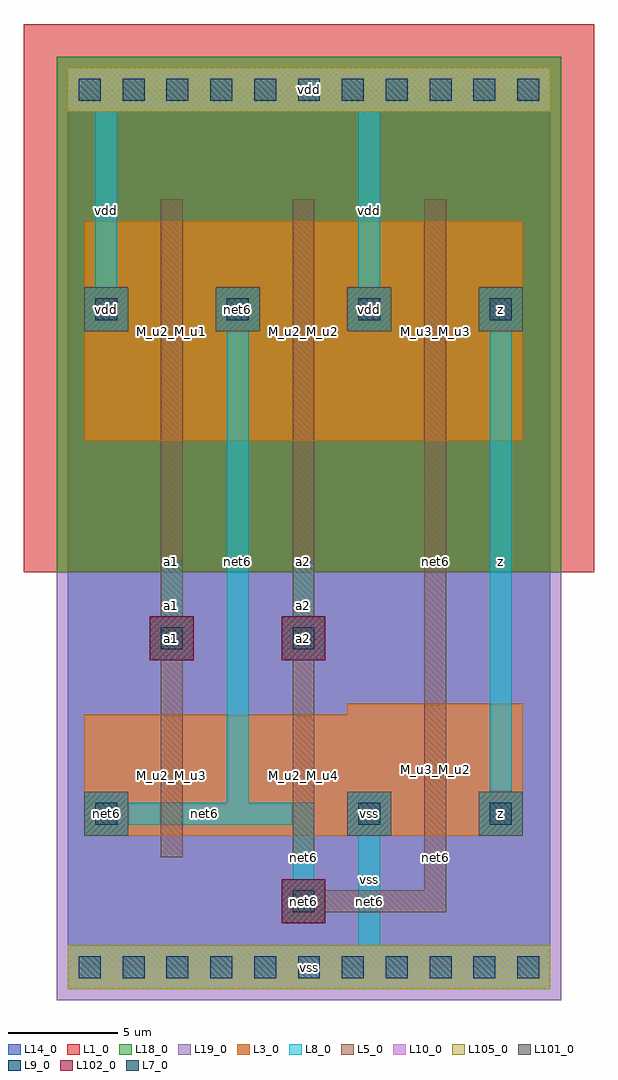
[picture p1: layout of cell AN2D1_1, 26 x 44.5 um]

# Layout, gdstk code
import gdstk
lib = gdstk.Library(unit=1e-6, precision=2.5e-07)
def R(c, l, rs):  # rectangles x0, y0, x1, y1
    for r in rs: c.add(gdstk.rectangle(r[:2], r[2:], *l))
def A(c, l, x, y, w, h, nx, ny, dx, dy):  # array of equal rectangles
    R(c, l, [(x+i*dx, y+j*dy, x+i*dx+w, y+j*dy+h) for i in range(nx) for j in range(ny)])
L1_0 = (1, 0)
L3_0 = (3, 0)
L5_0 = (5, 0)
L7_0 = (7, 0)
L8_0 = (8, 0)
L9_0 = (9, 0)
L10_0 = (10, 0)
L13_0 = (13, 0)
L14_0 = (14, 0)
L18_0 = (18, 0)
L19_0 = (19, 0)
L101_0 = (101, 0)
L102_0 = (102, 0)
L105_0 = (105, 0)

an2d1_1 = lib.new_cell('AN2D1_1')
R(an2d1_1, L1_0, [(-2,18,24,43)])
A(an2d1_1, L3_0, 0.75, 24, 8, 10, 3, 1, 6, 0)
A(an2d1_1, L3_0, 0.75, 29, 2, 2, 4, 1, 6, 0)
R(an2d1_1, L3_0, [(0.75,6,8.75,11.5), (0.75,6,2.75,8), (6.75,6,14.75,11.5), (12.75,6,20.75,12), (12.75,6,14.75,8), (18.75,6,20.75,8)])
A(an2d1_1, L5_0, 4.25, 6.5, 1, 24, 3, 1, 6, 0)
A(an2d1_1, L5_0, 4.25, 23, 1, 12, 3, 1, 6, 0)
R(an2d1_1, L5_0, [(9.75,2,11.75,4), (10.25,2.5,17.25,3.5), (16.25,2.5,17.25,7.5), (4.25,5,5.25,12.5), (10.25,5,11.25,12.5), (16.25,5,17.25,13), (3.75,14,5.75,16), (9.75,14,11.75,16)])
A(an2d1_1, L7_0, 1.25, 29.5, 1, 1, 4, 1, 6, 0)
R(an2d1_1, L7_0, [(10.25,2.5,11.25,3.5), (1.25,6.5,2.25,7.5), (13.25,6.5,14.25,7.5), (19.25,6.5,20.25,7.5), (4.25,14.5,5.25,15.5), (10.25,14.5,11.25,15.5)])
A(an2d1_1, L8_0, 0.75, 29, 2, 2, 4, 1, 6, 0)
R(an2d1_1, L8_0, [(0,-1,22,1), (13.25,0.5,14.25,7.5), (9.75,2,11.75,4), (10.25,2.5,11.25,7.5), (0.75,6,2.75,8), (12.75,6,14.75,8), (18.75,6,20.75,8), (1.25,6.5,11.25,7.5), (7.25,6.5,8.25,30.5), (19.25,6.5,20.25,30.5), (3.75,14,5.75,16), (9.75,14,11.75,16), (4.25,14.5,5.25,18.5), (10.25,14.5,11.25,18.5), (1.25,29.5,2.25,39.5), (13.25,29.5,14.25,39.5), (0,39,22,41)])
A(an2d1_1, L9_0, 0.5, -0.5, 1, 1, 11, 2, 2, 40)
R(an2d1_1, L10_0, [(0,-1,22,1), (0,39,22,41)])
R(an2d1_1, L14_0, [(0,0,22,40)])
R(an2d1_1, L18_0, [(-0.5,18,22.5,38.5), (-0.5,38.5,22.5,41.5)])
R(an2d1_1, L19_0, [(-0.5,-1.5,22.5,1.5), (-0.5,1.5,22.5,18)])
A(an2d1_1, L101_0, 0.75, 29, 2, 2, 4, 1, 6, 0)
R(an2d1_1, L101_0, [(0.75,6,2.75,8), (12.75,6,14.75,8), (18.75,6,20.75,8)])
R(an2d1_1, L102_0, [(9.75,2,11.75,4), (3.75,14,5.75,16), (9.75,14,11.75,16)])
A(an2d1_1, L105_0, 0, -1, 2, 2, 11, 2, 2, 40)
an2d1_1.add(gdstk.FlexPath([(0.75,3),(20.75,3)], 0, ends="flush", simple_path=True, layer=13, datatype=0))  # L13_0
an2d1_1.add(gdstk.FlexPath([(0.75,7),(20.75,7)], 0, ends="flush", simple_path=True, layer=13, datatype=0))  # L13_0
an2d1_1.add(gdstk.FlexPath([(0.75,11),(20.75,11)], 0, ends="flush", simple_path=True, layer=13, datatype=0))  # L13_0
an2d1_1.add(gdstk.FlexPath([(0.75,15),(20.75,15)], 0, ends="flush", simple_path=True, layer=13, datatype=0))  # L13_0
an2d1_1.add(gdstk.FlexPath([(0.75,18),(20.75,18)], 0, ends="flush", simple_path=True, layer=13, datatype=0))  # L13_0
an2d1_1.add(gdstk.FlexPath([(0.75,21),(20.75,21)], 0, ends="flush", simple_path=True, layer=13, datatype=0))  # L13_0
an2d1_1.add(gdstk.FlexPath([(0.75,25),(20.75,25)], 0, ends="flush", simple_path=True, layer=13, datatype=0))  # L13_0
an2d1_1.add(gdstk.FlexPath([(0.75,30),(20.75,30)], 0, ends="flush", simple_path=True, layer=13, datatype=0))  # L13_0
an2d1_1.add(gdstk.FlexPath([(0.75,33),(20.75,33)], 0, ends="flush", simple_path=True, layer=13, datatype=0))  # L13_0
an2d1_1.add(gdstk.FlexPath([(0.75,37),(20.75,37)], 0, ends="flush", simple_path=True, layer=13, datatype=0))  # L13_0
an2d1_1.add(gdstk.FlexPath([(1.75,0.5),(1.75,39.5)], 0, ends="flush", simple_path=True, layer=13, datatype=0))  # L13_0
an2d1_1.add(gdstk.FlexPath([(4.75,0.5),(4.75,39.5)], 0, ends="flush", simple_path=True, layer=13, datatype=0))  # L13_0
an2d1_1.add(gdstk.FlexPath([(7.75,0.5),(7.75,39.5)], 0, ends="flush", simple_path=True, layer=13, datatype=0))  # L13_0
an2d1_1.add(gdstk.FlexPath([(10.75,0.5),(10.75,39.5)], 0, ends="flush", simple_path=True, layer=13, datatype=0))  # L13_0
an2d1_1.add(gdstk.FlexPath([(13.75,0.5),(13.75,39.5)], 0, ends="flush", simple_path=True, layer=13, datatype=0))  # L13_0
an2d1_1.add(gdstk.FlexPath([(16.75,0.5),(16.75,39.5)], 0, ends="flush", simple_path=True, layer=13, datatype=0))  # L13_0
an2d1_1.add(gdstk.FlexPath([(19.75,0.5),(19.75,39.5)], 0, ends="flush", simple_path=True, layer=13, datatype=0))  # L13_0
an2d1_1.add(gdstk.Label('M_u2_M_u3', (4.75,8.75), layer=3, texttype=0))
an2d1_1.add(gdstk.Label('M_u3_M_u2', (16.75,9), layer=3, texttype=0))
an2d1_1.add(gdstk.Label('M_u2_M_u4', (10.75,8.75), layer=3, texttype=0))
an2d1_1.add(gdstk.Label('M_u3_M_u3', (16.75,29), layer=3, texttype=0))
an2d1_1.add(gdstk.Label('M_u2_M_u2', (10.75,29), layer=3, texttype=0))
an2d1_1.add(gdstk.Label('M_u2_M_u1', (4.75,29), layer=3, texttype=0))
an2d1_1.add(gdstk.Label('net6', (1.75,7), layer=3, texttype=0))
an2d1_1.add(gdstk.Label('net6', (7.75,30), layer=3, texttype=0))
an2d1_1.add(gdstk.Label('z', (19.75,7), layer=3, texttype=0))
an2d1_1.add(gdstk.Label('z', (19.75,30), layer=3, texttype=0))
an2d1_1.add(gdstk.Label('vss', (13.75,7), layer=3, texttype=0))
an2d1_1.add(gdstk.Label('vdd', (13.75,30), layer=3, texttype=0))
an2d1_1.add(gdstk.Label('vdd', (1.75,30), layer=3, texttype=0))
an2d1_1.add(gdstk.Label('net6', (1.75,7), layer=101, texttype=0))
an2d1_1.add(gdstk.Label('net6', (7.75,30), layer=101, texttype=0))
an2d1_1.add(gdstk.Label('z', (19.75,7), layer=101, texttype=0))
an2d1_1.add(gdstk.Label('z', (19.75,30), layer=101, texttype=0))
an2d1_1.add(gdstk.Label('vss', (13.75,7), layer=101, texttype=0))
an2d1_1.add(gdstk.Label('vdd', (13.75,30), layer=101, texttype=0))
an2d1_1.add(gdstk.Label('vdd', (1.75,30), layer=101, texttype=0))
an2d1_1.add(gdstk.Label('net6', (1.75,7), layer=8, texttype=0))
an2d1_1.add(gdstk.Label('net6', (7.75,30), layer=8, texttype=0))
an2d1_1.add(gdstk.Label('net6', (6.25,7), layer=8, texttype=0))
an2d1_1.add(gdstk.Label('net6', (10.75,5), layer=8, texttype=0))
an2d1_1.add(gdstk.Label('net6', (10.75,3), layer=8, texttype=0))
an2d1_1.add(gdstk.Label('net6', (7.75,18.5), layer=8, texttype=0))
an2d1_1.add(gdstk.Label('a1', (4.75,15), layer=8, texttype=0))
an2d1_1.add(gdstk.Label('a1', (4.75,16.5), layer=8, texttype=0))
an2d1_1.add(gdstk.Label('z', (19.75,7), layer=8, texttype=0))
an2d1_1.add(gdstk.Label('z', (19.75,30), layer=8, texttype=0))
an2d1_1.add(gdstk.Label('z', (19.75,18.5), layer=8, texttype=0))
an2d1_1.add(gdstk.Label('a2', (10.75,15), layer=8, texttype=0))
an2d1_1.add(gdstk.Label('a2', (10.75,16.5), layer=8, texttype=0))
an2d1_1.add(gdstk.Label('vss', (13.75,7), layer=8, texttype=0))
an2d1_1.add(gdstk.Label('vss', (13.75,4), layer=8, texttype=0))
an2d1_1.add(gdstk.Label('vdd', (13.75,30), layer=8, texttype=0))
an2d1_1.add(gdstk.Label('vdd', (13.75,34.5), layer=8, texttype=0))
an2d1_1.add(gdstk.Label('vdd', (1.75,30), layer=8, texttype=0))
an2d1_1.add(gdstk.Label('vdd', (1.75,34.5), layer=8, texttype=0))
an2d1_1.add(gdstk.Label('vss', (11,0), layer=8, texttype=0))
an2d1_1.add(gdstk.Label('vdd', (11,40), layer=8, texttype=0))
an2d1_1.add(gdstk.Label('vss', (11,0), layer=10, texttype=0))
an2d1_1.add(gdstk.Label('vdd', (11,40), layer=10, texttype=0))
an2d1_1.add(gdstk.Label('net6', (10.75,3), layer=5, texttype=0))
an2d1_1.add(gdstk.Label('net6', (13.75,3), layer=5, texttype=0))
an2d1_1.add(gdstk.Label('net6', (16.75,5), layer=5, texttype=0))
an2d1_1.add(gdstk.Label('net6', (16.75,18.5), layer=5, texttype=0))
an2d1_1.add(gdstk.Label('a1', (4.75,18.5), layer=5, texttype=0))
an2d1_1.add(gdstk.Label('a1', (4.75,15), layer=5, texttype=0))
an2d1_1.add(gdstk.Label('a2', (10.75,18.5), layer=5, texttype=0))
an2d1_1.add(gdstk.Label('a2', (10.75,15), layer=5, texttype=0))
an2d1_1.add(gdstk.Label('net6', (10.75,3), layer=102, texttype=0))
an2d1_1.add(gdstk.Label('a1', (4.75,15), layer=102, texttype=0))
an2d1_1.add(gdstk.Label('a2', (10.75,15), layer=102, texttype=0))

lib.write_gds('AN2D1_1.gds')
